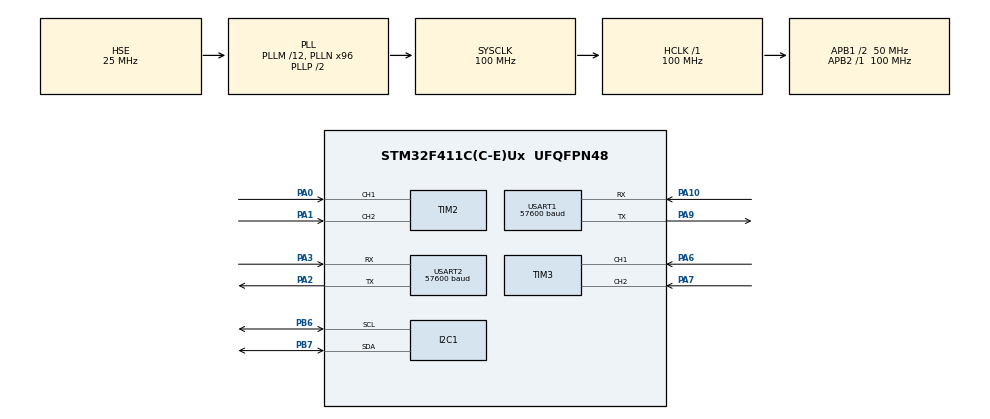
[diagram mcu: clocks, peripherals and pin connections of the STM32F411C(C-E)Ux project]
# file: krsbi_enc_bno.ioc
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Dma.Request0=USART1_RX
Dma.Request1=USART1_TX
Dma.Request2=USART2_RX
Dma.Request3=USART2_TX
Dma.USART1_RX.0.Direction=DMA_PERIPH_TO_MEMORY
Dma.USART1_RX.0.FIFOMode=DMA_FIFOMODE_DISABLE
Dma.USART1_RX.0.Instance=DMA2_Stream2
Dma.USART1_RX.0.MemDataAlignment=DMA_MDATAALIGN_BYTE
Dma.USART1_RX.0.MemInc=DMA_MINC_ENABLE
Dma.USART1_RX.0.Mode=DMA_CIRCULAR
Dma.USART1_RX.0.PeriphDataAlignment=DMA_PDATAALIGN_BYTE
Dma.USART1_RX.0.PeriphInc=DMA_PINC_DISABLE
Dma.USART1_RX.0.Priority=DMA_PRIORITY_LOW
Dma.USART1_TX.1.Direction=DMA_MEMORY_TO_PERIPH
Dma.USART1_TX.1.FIFOMode=DMA_FIFOMODE_DISABLE
Dma.USART1_TX.1.Instance=DMA2_Stream7
Dma.USART1_TX.1.MemDataAlignment=DMA_MDATAALIGN_BYTE
Dma.USART1_TX.1.MemInc=DMA_MINC_ENABLE
Dma.USART1_TX.1.Mode=DMA_NORMAL
Dma.USART1_TX.1.PeriphDataAlignment=DMA_PDATAALIGN_BYTE
Dma.USART1_TX.1.PeriphInc=DMA_PINC_DISABLE
Dma.USART1_TX.1.Priority=DMA_PRIORITY_LOW
Dma.USART2_RX.2.Direction=DMA_PERIPH_TO_MEMORY
Dma.USART2_RX.2.FIFOMode=DMA_FIFOMODE_DISABLE
Dma.USART2_RX.2.Instance=DMA1_Stream5
Dma.USART2_RX.2.MemDataAlignment=DMA_MDATAALIGN_BYTE
Dma.USART2_RX.2.MemInc=DMA_MINC_ENABLE
Dma.USART2_RX.2.Mode=DMA_CIRCULAR
Dma.USART2_RX.2.PeriphDataAlignment=DMA_PDATAALIGN_BYTE
Dma.USART2_RX.2.PeriphInc=DMA_PINC_DISABLE
Dma.USART2_RX.2.Priority=DMA_PRIORITY_LOW
Dma.USART2_TX.3.Direction=DMA_MEMORY_TO_PERIPH
Dma.USART2_TX.3.FIFOMode=DMA_FIFOMODE_DISABLE
Dma.USART2_TX.3.Instance=DMA1_Stream6
Dma.USART2_TX.3.MemDataAlignment=DMA_MDATAALIGN_BYTE
Dma.USART2_TX.3.MemInc=DMA_MINC_ENABLE
Dma.USART2_TX.3.Mode=DMA_NORMAL
Dma.USART2_TX.3.PeriphDataAlignment=DMA_PDATAALIGN_BYTE
Dma.USART2_TX.3.PeriphInc=DMA_PINC_DISABLE
Dma.USART2_TX.3.Priority=DMA_PRIORITY_LOW
Mcu.Family=STM32F4
Mcu.Name=STM32F411C(C-E)Ux
Mcu.Package=UFQFPN48
NVIC.DMA1_Stream5_IRQn=true\:0\:0\:false\:false\:true\:false\:true\:true
NVIC.DMA1_Stream6_IRQn=true\:0\:0\:false\:false\:true\:false\:true\:true
NVIC.DMA2_Stream2_IRQn=true\:0\:0\:false\:false\:true\:false\:true\:true
NVIC.DMA2_Stream7_IRQn=true\:0\:0\:false\:false\:true\:false\:true\:true
NVIC.PriorityGroup=NVIC_PRIORITYGROUP_4
NVIC.TIM1_BRK_TIM9_IRQn=true\:0\:0\:false\:false\:true\:true\:true\:true
NVIC.TIM1_CC_IRQn=true\:0\:0\:false\:false\:true\:true\:true\:true
NVIC.TIM1_TRG_COM_TIM11_IRQn=true\:0\:0\:false\:false\:true\:true\:true\:true
NVIC.TIM1_UP_TIM10_IRQn=true\:0\:0\:false\:false\:true\:true\:true\:true
NVIC.USART2_IRQn=true\:0\:0\:false\:false\:true\:true\:true\:true
PA0-WKUP.Signal=S_TIM2_CH1_ETR
PA1.Signal=S_TIM2_CH2
PA10.Mode=Asynchronous
PA10.Signal=USART1_RX
PA13.Mode=Serial_Wire
PA13.Signal=SYS_JTMS-SWDIO
PA14.Mode=Serial_Wire
PA14.Signal=SYS_JTCK-SWCLK
PA2.Mode=Asynchronous
PA2.Signal=USART2_TX
PA3.Mode=Asynchronous
PA3.Signal=USART2_RX
PA6.Signal=S_TIM3_CH1
PA7.Signal=S_TIM3_CH2
PA9.Mode=Asynchronous
PA9.Signal=USART1_TX
PB6.Mode=I2C
PB6.Signal=I2C1_SCL
PB7.Mode=I2C
PB7.Signal=I2C1_SDA
PH0\ -\ OSC_IN.Mode=HSE-External-Oscillator
PH0\ -\ OSC_IN.Signal=RCC_OSC_IN
PH1\ -\ OSC_OUT.Mode=HSE-External-Oscillator
PH1\ -\ OSC_OUT.Signal=RCC_OSC_OUT
ProjectManager.HeapSize=0x200
ProjectManager.StackSize=0x400
ProjectManager.TargetToolchain=STM32CubeIDE
RCC.48MHZClocksFreq_Value=50000000
RCC.AHBFreq_Value=100000000
RCC.APB1CLKDivider=RCC_HCLK_DIV2
RCC.APB1Freq_Value=50000000
RCC.APB1TimFreq_Value=100000000
RCC.APB2Freq_Value=100000000
RCC.APB2TimFreq_Value=100000000
RCC.CortexFreq_Value=100000000
RCC.HCLKFreq_Value=100000000
RCC.HSE_VALUE=25000000
RCC.HSI_VALUE=16000000
RCC.LSE_VALUE=32768
RCC.PLLM=12
RCC.PLLN=96
RCC.PLLSourceVirtual=RCC_PLLSOURCE_HSE
RCC.SYSCLKFreq_VALUE=100000000
RCC.SYSCLKSource=RCC_SYSCLKSOURCE_PLLCLK
RCC.VCOOutputFreq_Value=200000000
SH.S_TIM2_CH1_ETR.0=TIM2_CH1,Encoder_Interface
SH.S_TIM2_CH2.0=TIM2_CH2,Encoder_Interface
SH.S_TIM3_CH1.0=TIM3_CH1,Encoder_Interface
SH.S_TIM3_CH2.0=TIM3_CH2,Encoder_Interface
TIM1.Period=1000-1
TIM1.Prescaler=100-1
USART1.BaudRate=57600
USART1.VirtualMode=VM_ASYNC
USART2.BaudRate=57600
USART2.VirtualMode=VM_ASYNC
VP_TIM1_VS_ClockSourceINT.Mode=Internal
board=custom

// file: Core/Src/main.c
/* USER CODE BEGIN Header */
/**
  ******************************************************************************
  * @file           : main.c
  * @brief          : Main program body
  ******************************************************************************
  * @attention
  *
  * Copyright (c) 2024 STMicroelectronics.
  * All rights reserved.
  *
  * This software is licensed under terms that can be found in the LICENSE file
  * in the root directory of this software component.
  * If no LICENSE file comes with this software, it is provided AS-IS.
  *
  ******************************************************************************
  */
/* USER CODE END Header */
#include "main.h"
#include "dma.h"
#include "i2c.h"
#include "tim.h"
#include "usart.h"
#include "gpio.h"

/* USER CODE BEGIN Includes */

#include "bno055_stm32.h"
#include <mainpp.h>
#include "motor.h"
#include "pid.h"

float x, y, z, w;
short enc1 = 0, enc2 = 0;

extern struct Magnetometer{
	float x,y,z;
}bno;
extern struct Cam{
	float distance, angle, x_on_camera, y_on_camera, x_real, y_real;
}camera;

PID_Controller pidAx, pidW;

float pid_ax, error_jrk, error_sdt, pid_w;

/* USER CODE END Includes */

void SystemClock_Config(void);

int main(void)
{

  /* MCU Configuration--------------------------------------------------------*/

  /* Reset of all peripherals, Initializes the Flash interface and the Systick. */
  HAL_Init();

  /* USER CODE BEGIN Init */
  uint32_t currenTick = HAL_GetTick();
  PID_Init(&pidAx, 6, 0, 0, -1000, 1000);
  PID_Init(&pidW, 5, 0, 10, -1000, 1000);
  /* USER CODE END Init */

  /* Configure the system clock */
  SystemClock_Config();

  /* Initialize all configured peripherals */
  MX_GPIO_Init();
  MX_DMA_Init();
  MX_TIM1_Init();
  MX_I2C1_Init();
  MX_TIM2_Init();
  MX_TIM3_Init();
  MX_USART1_UART_Init();
  MX_USART2_UART_Init();
  /* USER CODE BEGIN 2 */
  HAL_TIM_Base_Start_IT(&htim1);
  HAL_TIM_Encoder_Start(&htim2, TIM_CHANNEL_ALL);
  HAL_TIM_Encoder_Start(&htim3, TIM_CHANNEL_ALL);

  bno055_assignI2C(&hi2c1);
  bno055_setup();
  bno055_setOperationModeNDOF();
  setup();
  /* USER CODE END 2 */

  /* Infinite loop */
  while (1)
  {

    /* USER CODE BEGIN 3 */

		if(HAL_GetTick()-currenTick>10){
			error_jrk = error_jarak_calculation(61, camera.distance);
			error_sdt = error_sudut_calculation(116, camera.angle);
			pid_ax = PID_Update(&pidAx, camera.distance, error_jrk)/1000;
			pid_w = PID_Update(&pidW, camera.angle, error_sdt)/1000;

//			pid_ax = 0;
//			pid_w = 0.7;

			motor_calculation(pid_ax, 0, pid_w);
			loop();
			currenTick = HAL_GetTick();

		}
  }
  /* USER CODE END 3 */
}

void SystemClock_Config(void)
{
  RCC_OscInitTypeDef RCC_OscInitStruct = {0};
  RCC_ClkInitTypeDef RCC_ClkInitStruct = {0};

  /** Configure the main internal regulator output voltage
  */
  __HAL_RCC_PWR_CLK_ENABLE();
  __HAL_PWR_VOLTAGESCALING_CONFIG(PWR_REGULATOR_VOLTAGE_SCALE1);

  /** Initializes the RCC Oscillators according to the specified parameters
  * in the RCC_OscInitTypeDef structure.
  */
  RCC_OscInitStruct.OscillatorType = RCC_OSCILLATORTYPE_HSE;
  RCC_OscInitStruct.HSEState = RCC_HSE_ON;
  RCC_OscInitStruct.PLL.PLLState = RCC_PLL_ON;
  RCC_OscInitStruct.PLL.PLLSource = RCC_PLLSOURCE_HSE;
  RCC_OscInitStruct.PLL.PLLM = 12;
  RCC_OscInitStruct.PLL.PLLN = 96;
  RCC_OscInitStruct.PLL.PLLP = RCC_PLLP_DIV2;
  RCC_OscInitStruct.PLL.PLLQ = 4;
  if (HAL_RCC_OscConfig(&RCC_OscInitStruct) != HAL_OK)
  {
    Error_Handler();
  }

  /** Initializes the CPU, AHB and APB buses clocks
  */
  RCC_ClkInitStruct.ClockType = RCC_CLOCKTYPE_HCLK|RCC_CLOCKTYPE_SYSCLK
                              |RCC_CLOCKTYPE_PCLK1|RCC_CLOCKTYPE_PCLK2;
  RCC_ClkInitStruct.SYSCLKSource = RCC_SYSCLKSOURCE_PLLCLK;
  RCC_ClkInitStruct.AHBCLKDivider = RCC_SYSCLK_DIV1;
  RCC_ClkInitStruct.APB1CLKDivider = RCC_HCLK_DIV2;
  RCC_ClkInitStruct.APB2CLKDivider = RCC_HCLK_DIV1;

  if (HAL_RCC_ClockConfig(&RCC_ClkInitStruct, FLASH_LATENCY_3) != HAL_OK)
  {
    Error_Handler();
  }
}

/* USER CODE BEGIN 4 */

short counterBNO = 0;

void HAL_TIM_PeriodElapsedCallback(TIM_HandleTypeDef *htim){
	if(htim == &htim1){
		if(counterBNO == 100){
			bno055_vector_t v = bno055_getVectorMagnetometer();
			x = v.x;
			y = v.y;
			z = v.z;
			w = v.w;

			bno.x = x;

			counterBNO = 0;
		}

		counterBNO++;

	}
}

/* USER CODE END 4 */

void Error_Handler(void)
{
  __disable_irq();
  while (1)
  {
  }
}
